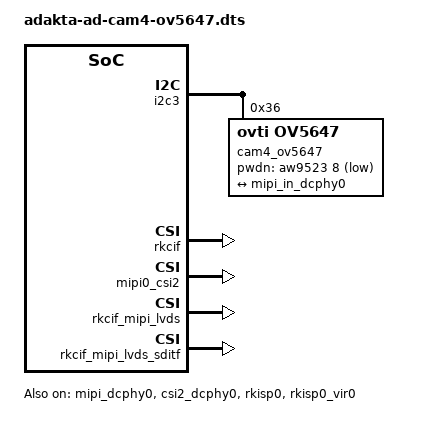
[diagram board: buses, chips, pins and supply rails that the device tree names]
/dts-v1/;
/plugin/;

#include <dt-bindings/clock/rk3588-cru.h>
#include <dt-bindings/power/rk3588-power.h>
#include <dt-bindings/gpio/gpio.h>
#include <dt-bindings/pinctrl/rockchip.h>

/ {
	metadata {
		title = "Enable Raspberry Pi Camera V2 4";
		compatible = "adakta,adakta-ad-rk3588";
		category = "camera";
		description = "Enable Raspberry Pi Camera V2 4";
	};

	fragment@0 {
		target = <&i2c3>;

		__overlay__ {
			status = "okay";

			cam4_ov5647: cam4_ov5647@36 {
				status = "okay";

				compatible = "ovti,ov5647";
				reg = <0x36>;

				pinctrl-names = "default";
				pinctrl-0 = <&aw9523_cam4_reset_pins>;

				pwdn-gpios = <&aw9523 8 GPIO_ACTIVE_LOW>;

				clocks = <&clk_cam_25m>;
				clock-names = "xvclk";

				rockchip,camera-module-index = <4>;
				rockchip,camera-module-facing = "back";
				rockchip,camera-module-name = "KLT-OV5647";
				rockchip,camera-module-lens-name = "default";

				port {
					cam4_ov5647_out: endpoint {
						remote-endpoint = <&mipi_in_dcphy0>;
						data-lanes = <1 2>;
					};
				};
			};
		};
	};

	fragment@1 {
		target = <&mipi_in_dcphy0>;

		__overlay__ {
			remote-endpoint = <&cam4_ov5647_out>;
			data-lanes = <1 2>;
		};
	};

	fragment@2 {
		target = <&rkcif>;

		__overlay__ {
			status = "okay";
		};
	};

	fragment@3 {
		target = <&rkcif_mmu>;

		__overlay__ {
			status = "okay";
		};
	};

	fragment@4 {
		target = <&mipi_dcphy0>;

		__overlay__ {
			status = "okay";
		};
	};

	fragment@5 {
		target = <&csi2_dcphy0>;

		__overlay__ {
			status = "okay";
		};
	};

	fragment@6 {
		target = <&mipi0_csi2>;

		__overlay__ {
			status = "okay";
		};
	};

	fragment@7 {
		target = <&rkcif_mipi_lvds>;

		__overlay__ {
			status = "okay";
		};
	};

	fragment@8 {
		target = <&rkcif_mipi_lvds_sditf>;

		__overlay__ {
			status = "okay";
		};
	};

	fragment@9 {
		target = <&rkisp0>;

		__overlay__ {
			status = "okay";
		};
	};

	fragment@10 {
		target = <&isp0_mmu>;

		__overlay__ {
			status = "okay";
		};
	};

	fragment@11 {
		target = <&rkisp0_vir0>;

		__overlay__ {
			status = "okay";
		};
	};
};
